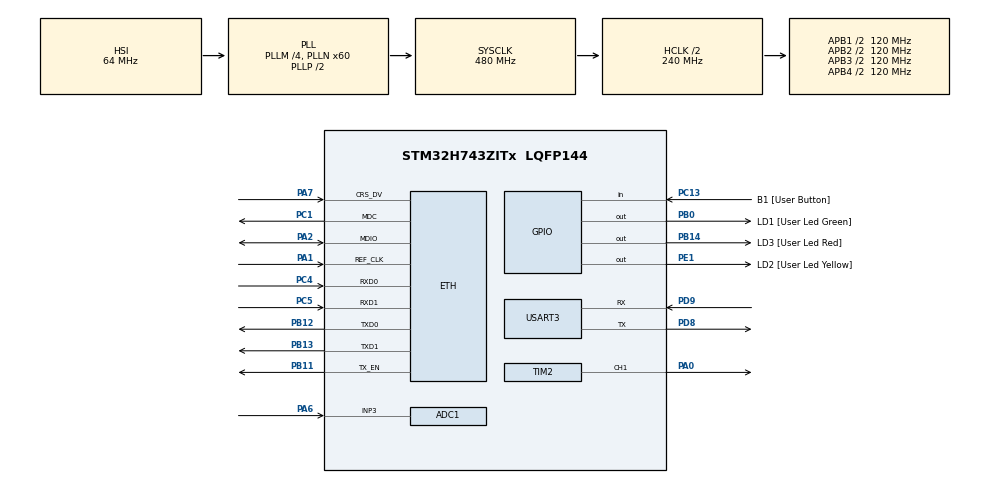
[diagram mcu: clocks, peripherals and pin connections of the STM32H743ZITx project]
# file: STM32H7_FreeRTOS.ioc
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ADC1.Channel-2\#ChannelRegularConversion=ADC_CHANNEL_3
ADC1.ContinuousConvMode=ENABLE
ADC1.ConversionDataManagement=ADC_CONVERSIONDATA_DMA_CIRCULAR
ADC1.DiscontinuousConvMode=DISABLE
ADC1.NbrOfConversionFlag=1
ADC1.OffsetNumber-2\#ChannelRegularConversion=ADC_OFFSET_NONE
ADC1.OffsetSignedSaturation-2\#ChannelRegularConversion=DISABLE
ADC1.Overrun=ADC_OVR_DATA_OVERWRITTEN
ADC1.OversamplingMode=ENABLE
ADC1.Rank-2\#ChannelRegularConversion=1
ADC1.Ratio=256
ADC1.RightBitShift=ADC_RIGHTBITSHIFT_8
ADC1.SamplingTime-2\#ChannelRegularConversion=ADC_SAMPLETIME_16CYCLES_5
ADC1.master=1
CORTEX_M7.default_mode_Activation=1
Dma.ADC1.0.Direction=DMA_PERIPH_TO_MEMORY
Dma.ADC1.0.EventEnable=DISABLE
Dma.ADC1.0.FIFOMode=DMA_FIFOMODE_DISABLE
Dma.ADC1.0.Instance=DMA1_Stream0
Dma.ADC1.0.MemDataAlignment=DMA_MDATAALIGN_HALFWORD
Dma.ADC1.0.MemInc=DMA_MINC_DISABLE
Dma.ADC1.0.Mode=DMA_CIRCULAR
Dma.ADC1.0.PeriphDataAlignment=DMA_PDATAALIGN_HALFWORD
Dma.ADC1.0.PeriphInc=DMA_PINC_DISABLE
Dma.ADC1.0.Polarity=HAL_DMAMUX_REQ_GEN_RISING
Dma.ADC1.0.Priority=DMA_PRIORITY_LOW
Dma.ADC1.0.RequestNumber=1
Dma.ADC1.0.SignalID=NONE
Dma.ADC1.0.SyncEnable=DISABLE
Dma.ADC1.0.SyncPolarity=HAL_DMAMUX_SYNC_NO_EVENT
Dma.ADC1.0.SyncRequestNumber=1
Dma.ADC1.0.SyncSignalID=NONE
Dma.Request0=ADC1
Dma.Request1=USART3_TX
Dma.USART3_TX.1.Direction=DMA_MEMORY_TO_PERIPH
Dma.USART3_TX.1.EventEnable=DISABLE
Dma.USART3_TX.1.FIFOMode=DMA_FIFOMODE_DISABLE
Dma.USART3_TX.1.Instance=DMA1_Stream1
Dma.USART3_TX.1.MemDataAlignment=DMA_MDATAALIGN_BYTE
Dma.USART3_TX.1.MemInc=DMA_MINC_ENABLE
Dma.USART3_TX.1.Mode=DMA_NORMAL
Dma.USART3_TX.1.PeriphDataAlignment=DMA_PDATAALIGN_BYTE
Dma.USART3_TX.1.PeriphInc=DMA_PINC_DISABLE
Dma.USART3_TX.1.Polarity=HAL_DMAMUX_REQ_GEN_RISING
Dma.USART3_TX.1.Priority=DMA_PRIORITY_LOW
Dma.USART3_TX.1.RequestNumber=1
Dma.USART3_TX.1.SignalID=NONE
Dma.USART3_TX.1.SyncEnable=DISABLE
Dma.USART3_TX.1.SyncPolarity=HAL_DMAMUX_SYNC_NO_EVENT
Dma.USART3_TX.1.SyncRequestNumber=1
Dma.USART3_TX.1.SyncSignalID=NONE
ETH.MediaInterface=HAL_ETH_RMII_MODE
Mcu.Family=STM32H7
Mcu.Name=STM32H743ZITx
Mcu.Package=LQFP144
NVIC.DMA1_Stream0_IRQn=true\:0\:0\:false\:false\:true\:false\:true\:true
NVIC.DMA1_Stream1_IRQn=true\:0\:0\:false\:false\:true\:false\:true\:true
NVIC.ETH_IRQn=true\:0\:0\:false\:false\:false\:true\:true\:true
NVIC.PriorityGroup=NVIC_PRIORITYGROUP_4
NVIC.TIM2_IRQn=true\:0\:0\:false\:false\:true\:true\:true\:true
NVIC.TIM6_DAC_IRQn=true\:15\:0\:false\:false\:true\:false\:true\:true
NVIC.TimeBase=TIM6_DAC_IRQn
NVIC.TimeBaseIP=TIM6
PA0.Signal=S_TIM2_CH1_ETR
PA1.Mode=RMII
PA1.Signal=ETH_REF_CLK
PA13\ (JTMS/SWDIO).GPIO_Label=JTMS
PA13\ (JTMS/SWDIO).Mode=Serial_Wire
PA13\ (JTMS/SWDIO).Signal=DEBUG_JTMS-SWDIO
PA14\ (JTCK/SWCLK).GPIO_Label=JTCK
PA14\ (JTCK/SWCLK).Mode=Serial_Wire
PA14\ (JTCK/SWCLK).Signal=DEBUG_JTCK-SWCLK
PA2.Mode=RMII
PA2.Signal=ETH_MDIO
PA6.Signal=ADCx_INP3
PA7.Mode=RMII
PA7.Signal=ETH_CRS_DV
PB0.GPIO_Label=LD1 [User Led Green]
PB0.Signal=GPIO_Output
PB11.Mode=RMII
PB11.Signal=ETH_TX_EN
PB12.Mode=RMII
PB12.Signal=ETH_TXD0
PB13.Mode=RMII
PB13.Signal=ETH_TXD1
PB14.GPIO_Label=LD3 [User Led Red]
PB14.Signal=GPIO_Output
PC1.Mode=RMII
PC1.Signal=ETH_MDC
PC13.GPIO_Label=B1 [User Button]
PC13.Signal=GPIO_Input
PC4.Mode=RMII
PC4.Signal=ETH_RXD0
PC5.Mode=RMII
PC5.Signal=ETH_RXD1
PD8.Mode=Asynchronous
PD8.Signal=USART3_TX
PD9.Mode=Asynchronous
PD9.Signal=USART3_RX
PE1.GPIO_Label=LD2 [User Led Yellow]
PE1.Signal=GPIO_Output
ProjectManager.HeapSize=0x200
ProjectManager.StackSize=0x400
ProjectManager.TargetToolchain=STM32CubeIDE
RCC.ADCFreq_Value=80000000
RCC.APB1Freq_Value=120000000
RCC.APB2Freq_Value=120000000
RCC.APB3Freq_Value=120000000
RCC.APB4Freq_Value=120000000
RCC.CortexFreq_Value=480000000
RCC.D1PPRE=RCC_APB3_DIV2
RCC.D2PPRE1=RCC_APB1_DIV2
RCC.D2PPRE2=RCC_APB2_DIV2
RCC.D3PPRE=RCC_APB4_DIV2
RCC.DIVM1=4
RCC.DIVM2=4
RCC.DIVN1=60
RCC.DIVN2=10
RCC.HCLKFreq_Value=240000000
RCC.HPRE=RCC_HCLK_DIV2
RCC.PLL2FRACN=0
RCC.PLL3FRACN=0
RCC.PLLFRACN=0
RCC.SYSCLKFreq_VALUE=480000000
RCC.SYSCLKSource=RCC_SYSCLKSOURCE_PLLCLK
RCC.USBFreq_Value=480000000
SH.ADCx_INP3.0=ADC1_INP3,IN3-Single-Ended
SH.S_TIM2_CH1_ETR.0=TIM2_CH1,PWM Generation1 CH1
TIM2.Channel-PWM\ Generation1\ CH1=TIM_CHANNEL_1
TIM2.Period=1000
TIM2.Prescaler=239
TIM2.Pulse-PWM\ Generation1\ CH1=500
USART3.VirtualMode-Asynchronous=VM_ASYNC
VP_MEMORYMAP_VS_MEMORYMAP.Mode=CurAppReg
VP_RNG_VS_RNG.Mode=RNG_Activate
VP_RTC_VS_RTC_Activate.Mode=RTC_Enabled
VP_RTC_VS_RTC_Calendar.Mode=RTC_Calendar
VP_SYS_VS_tim6.Mode=TIM6
VP_TIM2_VS_ClockSourceINT.Mode=Internal
board=NUCLEO-H743ZI2

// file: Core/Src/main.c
/* USER CODE BEGIN Header */
/**
  ******************************************************************************
  * @file           : main.c
  * @brief          : Main program body
  ******************************************************************************
  * @attention
  *
  * Copyright (c) 2025 STMicroelectronics.
  * All rights reserved.
  *
  * This software is licensed under terms that can be found in the LICENSE file
  * in the root directory of this software component.
  * If no LICENSE file comes with this software, it is provided AS-IS.
  *
  ******************************************************************************
  */
/* USER CODE END Header */
#include "main.h"
#include "string.h"

/* USER CODE BEGIN Includes */

#include "FreeRTOS.h"
#include "task.h"
#include "queue.h"
#include "semphr.h"
#include "timers.h"

#include "FreeRTOS_IP.h"
#include "FreeRTOS_Sockets.h"
#include "FreeRTOS_IP_Private.h"
#include "NetworkBufferManagement.h"
#include "FreeRTOS_Routing.h"

/* USER CODE END Includes */

/* USER CODE BEGIN PD */

#define mainTCP_SERVER_STACK_SIZE	640

/* USER CODE END PD */

#if defined ( __ICCARM__ ) /*!< IAR Compiler */
#pragma location=0x30000000
ETH_DMADescTypeDef  DMARxDscrTab[ETH_RX_DESC_CNT]; /* Ethernet Rx DMA Descriptors */
#pragma location=0x30000080
ETH_DMADescTypeDef  DMATxDscrTab[ETH_TX_DESC_CNT]; /* Ethernet Tx DMA Descriptors */

#elif defined ( __CC_ARM )  /* MDK ARM Compiler */

__attribute__((at(0x30000000))) ETH_DMADescTypeDef  DMARxDscrTab[ETH_RX_DESC_CNT]; /* Ethernet Rx DMA Descriptors */
__attribute__((at(0x30000080))) ETH_DMADescTypeDef  DMATxDscrTab[ETH_TX_DESC_CNT]; /* Ethernet Tx DMA Descriptors */

#elif defined ( __GNUC__ ) /* GNU Compiler */

ETH_DMADescTypeDef DMARxDscrTab[ETH_RX_DESC_CNT] __attribute__((section(".RxDescripSection"))); /* Ethernet Rx DMA Descriptors */
ETH_DMADescTypeDef DMATxDscrTab[ETH_TX_DESC_CNT] __attribute__((section(".TxDescripSection")));   /* Ethernet Tx DMA Descriptors */
#endif

ETH_TxPacketConfig TxConfig;

ADC_HandleTypeDef hadc1;
DMA_HandleTypeDef hdma_adc1;

ETH_HandleTypeDef heth;

RNG_HandleTypeDef hrng;

RTC_HandleTypeDef hrtc;

TIM_HandleTypeDef htim2;

UART_HandleTypeDef huart3;
DMA_HandleTypeDef hdma_usart3_tx;

/* USER CODE BEGIN PV */

TaskHandle_t xLedTaskHandle1 = NULL;
TaskHandle_t xLedTaskHandle2 = NULL;
TaskHandle_t xLedTaskHandle3 = NULL;

static uint8_t ucMACAddress[ 6 ] = { configMAC_ADDR0, configMAC_ADDR1, configMAC_ADDR2, configMAC_ADDR3, configMAC_ADDR4, configMAC_ADDR5 };
static const uint8_t ucIPAddress[ 4 ] = { configIP_ADDR0, configIP_ADDR1, configIP_ADDR2, configIP_ADDR3 };
static const uint8_t ucNetMask[ 4 ] = { configNET_MASK0, configNET_MASK1, configNET_MASK2, configNET_MASK3 };
static const uint8_t ucGatewayAddress[ 4 ] = { configGATEWAY_ADDR0, configGATEWAY_ADDR1, configGATEWAY_ADDR2, configGATEWAY_ADDR3 };
const uint8_t ucDNSServerAddress[ 4 ] = { configDNS_SERVER_ADDR0, configDNS_SERVER_ADDR1, configDNS_SERVER_ADDR2, configDNS_SERVER_ADDR3 };

NetworkInterface_t xInterfaces[10];
NetworkEndPoint_t xEndPoints[10];

/* USER CODE END PV */

void SystemClock_Config(void);
static void MPU_Config(void);
static void MX_GPIO_Init(void);
static void MX_DMA_Init(void);
static void MX_ETH_Init(void);
static void MX_ADC1_Init(void);
static void MX_RTC_Init(void);
static void MX_TIM2_Init(void);
static void MX_USART3_UART_Init(void);
static void MX_RNG_Init(void);
/* USER CODE BEGIN PFP */

void vLedTask1( void *pvParameters );
void vLedTask2( void *pvParameters );
void vLedTask3( void *pvParameters );

void vApplicationMallocFailedHook(void);
void vApplicationStackOverflowHook(TaskHandle_t xTask, char *pcTaskName);

eFrameProcessingResult_t eConsiderPacketForProcessing(const uint8_t *pucEthernetBuffer, size_t xBufferLength);
uint32_t ulApplicationGetNextSequenceNumber(uint32_t ulSourceAddress, uint16_t usSourcePort, uint32_t ulDestinationAddress, uint16_t usDestinationPort);
void vApplicationIPNetworkEventHook_Multi(eIPCallbackEvent_t eNetworkEvent, struct xNetworkEndPoint *pxEndPoint);
void vApplicationPingReplyHook(ePingReplyStatus_t eStatus, uint16_t usIdentifier);
BaseType_t xApplicationDNSQueryHook_Multi(struct xNetworkEndPoint * pxEndPoint, const char * pcName);
BaseType_t xApplicationGetRandomNumber( uint32_t *pulValue );

/* USER CODE END PFP */

/* USER CODE BEGIN 0 */

//static uint32_t ulSeed;

/* USER CODE END 0 */

int main(void)
{

  /* MPU Configuration--------------------------------------------------------*/
  MPU_Config();

  /* MCU Configuration--------------------------------------------------------*/

  /* Reset of all peripherals, Initializes the Flash interface and the Systick. */
  HAL_Init();

  /* Configure the system clock */
  SystemClock_Config();

  /* Initialize all configured peripherals */
  MX_GPIO_Init();
  MX_DMA_Init();
  MX_ETH_Init();
  MX_ADC1_Init();
  MX_RTC_Init();
  MX_TIM2_Init();
  MX_USART3_UART_Init();
  MX_RNG_Init();
  /* USER CODE BEGIN 2 */

  pxSTM32_FillInterfaceDescriptor(0, &xInterfaces[0]);
  FreeRTOS_FillEndPoint( &( xInterfaces[ 0 ] ), &( xEndPoints[ 0 ] ), ucIPAddress, ucNetMask, ucGatewayAddress, ucDNSServerAddress, ucMACAddress );

  #if ( ipconfigUSE_DHCP != 0 )
  {
	  /* End-point 0 wants to use DHCPv4. */
	  xEndPoints[ 0 ].bits.bWantDHCP = pdTRUE;
  }
  #endif /* ( ipconfigUSE_DHCP != 0 ) */

  FreeRTOS_IPInit_Multi();

  xTaskCreate(vLedTask1, "LED Blink1", 64, NULL, 1, &xLedTaskHandle1);
  xTaskCreate(vLedTask2, "LED Blink2", 64, NULL, 1, &xLedTaskHandle2);
  //xTaskCreate(vLedTask3, "LED Blink3", 64, NULL, 1, &xLedTaskHandle3);

  /* USER CODE END 2 */

  /* Infinite loop */
  /* USER CODE BEGIN WHILE */

  vTaskStartScheduler();

  while (1)
  {

    /* USER CODE END WHILE */

  }
}

void SystemClock_Config(void)
{
  RCC_OscInitTypeDef RCC_OscInitStruct = {0};
  RCC_ClkInitTypeDef RCC_ClkInitStruct = {0};

  /** Supply configuration update enable
  */
  HAL_PWREx_ConfigSupply(PWR_LDO_SUPPLY);

  /** Configure the main internal regulator output voltage
  */
  __HAL_PWR_VOLTAGESCALING_CONFIG(PWR_REGULATOR_VOLTAGE_SCALE0);

  while(!__HAL_PWR_GET_FLAG(PWR_FLAG_VOSRDY)) {}

  /** Initializes the RCC Oscillators according to the specified parameters
  * in the RCC_OscInitTypeDef structure.
  */
  RCC_OscInitStruct.OscillatorType = RCC_OSCILLATORTYPE_HSI48|RCC_OSCILLATORTYPE_HSI
                              |RCC_OSCILLATORTYPE_LSI;
  RCC_OscInitStruct.HSIState = RCC_HSI_DIV1;
  RCC_OscInitStruct.HSICalibrationValue = RCC_HSICALIBRATION_DEFAULT;
  RCC_OscInitStruct.LSIState = RCC_LSI_ON;
  RCC_OscInitStruct.HSI48State = RCC_HSI48_ON;
  RCC_OscInitStruct.PLL.PLLState = RCC_PLL_ON;
  RCC_OscInitStruct.PLL.PLLSource = RCC_PLLSOURCE_HSI;
  RCC_OscInitStruct.PLL.PLLM = 4;
  RCC_OscInitStruct.PLL.PLLN = 60;
  RCC_OscInitStruct.PLL.PLLP = 2;
  RCC_OscInitStruct.PLL.PLLQ = 2;
  RCC_OscInitStruct.PLL.PLLR = 2;
  RCC_OscInitStruct.PLL.PLLRGE = RCC_PLL1VCIRANGE_3;
  RCC_OscInitStruct.PLL.PLLVCOSEL = RCC_PLL1VCOWIDE;
  RCC_OscInitStruct.PLL.PLLFRACN = 0;
  if (HAL_RCC_OscConfig(&RCC_OscInitStruct) != HAL_OK)
  {
    Error_Handler();
  }

  /** Initializes the CPU, AHB and APB buses clocks
  */
  RCC_ClkInitStruct.ClockType = RCC_CLOCKTYPE_HCLK|RCC_CLOCKTYPE_SYSCLK
                              |RCC_CLOCKTYPE_PCLK1|RCC_CLOCKTYPE_PCLK2
                              |RCC_CLOCKTYPE_D3PCLK1|RCC_CLOCKTYPE_D1PCLK1;
  RCC_ClkInitStruct.SYSCLKSource = RCC_SYSCLKSOURCE_PLLCLK;
  RCC_ClkInitStruct.SYSCLKDivider = RCC_SYSCLK_DIV1;
  RCC_ClkInitStruct.AHBCLKDivider = RCC_HCLK_DIV2;
  RCC_ClkInitStruct.APB3CLKDivider = RCC_APB3_DIV2;
  RCC_ClkInitStruct.APB1CLKDivider = RCC_APB1_DIV2;
  RCC_ClkInitStruct.APB2CLKDivider = RCC_APB2_DIV2;
  RCC_ClkInitStruct.APB4CLKDivider = RCC_APB4_DIV2;

  if (HAL_RCC_ClockConfig(&RCC_ClkInitStruct, FLASH_LATENCY_4) != HAL_OK)
  {
    Error_Handler();
  }
}

static void MX_ADC1_Init(void)
{

  ADC_MultiModeTypeDef multimode = {0};
  ADC_ChannelConfTypeDef sConfig = {0};

  /** Common config
  */
  hadc1.Instance = ADC1;
  hadc1.Init.ClockPrescaler = ADC_CLOCK_ASYNC_DIV1;
  hadc1.Init.Resolution = ADC_RESOLUTION_16B;
  hadc1.Init.ScanConvMode = ADC_SCAN_DISABLE;
  hadc1.Init.EOCSelection = ADC_EOC_SINGLE_CONV;
  hadc1.Init.LowPowerAutoWait = DISABLE;
  hadc1.Init.ContinuousConvMode = ENABLE;
  hadc1.Init.NbrOfConversion = 1;
  hadc1.Init.DiscontinuousConvMode = DISABLE;
  hadc1.Init.ExternalTrigConv = ADC_SOFTWARE_START;
  hadc1.Init.ExternalTrigConvEdge = ADC_EXTERNALTRIGCONVEDGE_NONE;
  hadc1.Init.ConversionDataManagement = ADC_CONVERSIONDATA_DMA_CIRCULAR;
  hadc1.Init.Overrun = ADC_OVR_DATA_OVERWRITTEN;
  hadc1.Init.LeftBitShift = ADC_LEFTBITSHIFT_NONE;
  hadc1.Init.OversamplingMode = ENABLE;
  hadc1.Init.Oversampling.Ratio = 256;
  hadc1.Init.Oversampling.RightBitShift = ADC_RIGHTBITSHIFT_8;
  hadc1.Init.Oversampling.TriggeredMode = ADC_TRIGGEREDMODE_SINGLE_TRIGGER;
  hadc1.Init.Oversampling.OversamplingStopReset = ADC_REGOVERSAMPLING_CONTINUED_MODE;
  if (HAL_ADC_Init(&hadc1) != HAL_OK)
  {
    Error_Handler();
  }

  /** Configure the ADC multi-mode
  */
  multimode.Mode = ADC_MODE_INDEPENDENT;
  if (HAL_ADCEx_MultiModeConfigChannel(&hadc1, &multimode) != HAL_OK)
  {
    Error_Handler();
  }

  /** Configure Regular Channel
  */
  sConfig.Channel = ADC_CHANNEL_3;
  sConfig.Rank = ADC_REGULAR_RANK_1;
  sConfig.SamplingTime = ADC_SAMPLETIME_16CYCLES_5;
  sConfig.SingleDiff = ADC_SINGLE_ENDED;
  sConfig.OffsetNumber = ADC_OFFSET_NONE;
  sConfig.Offset = 0;
  sConfig.OffsetSignedSaturation = DISABLE;
  if (HAL_ADC_ConfigChannel(&hadc1, &sConfig) != HAL_OK)
  {
    Error_Handler();
  }

}

static void MX_ETH_Init(void)
{

   static uint8_t MACAddr[6];

  heth.Instance = ETH;
  MACAddr[0] = 0x00;
  MACAddr[1] = 0x80;
  MACAddr[2] = 0xE1;
  MACAddr[3] = 0x00;
  MACAddr[4] = 0x00;
  MACAddr[5] = 0x00;
  heth.Init.MACAddr = &MACAddr[0];
  heth.Init.MediaInterface = HAL_ETH_RMII_MODE;
  heth.Init.TxDesc = DMATxDscrTab;
  heth.Init.RxDesc = DMARxDscrTab;
  heth.Init.RxBuffLen = 1536;

  if (HAL_ETH_Init(&heth) != HAL_OK)
  {
    Error_Handler();
  }

  memset(&TxConfig, 0 , sizeof(ETH_TxPacketConfig));
  TxConfig.Attributes = ETH_TX_PACKETS_FEATURES_CSUM | ETH_TX_PACKETS_FEATURES_CRCPAD;
  TxConfig.ChecksumCtrl = ETH_CHECKSUM_IPHDR_PAYLOAD_INSERT_PHDR_CALC;
  TxConfig.CRCPadCtrl = ETH_CRC_PAD_INSERT;

}

static void MX_RNG_Init(void)
{

  hrng.Instance = RNG;
  hrng.Init.ClockErrorDetection = RNG_CED_ENABLE;
  if (HAL_RNG_Init(&hrng) != HAL_OK)
  {
    Error_Handler();
  }

}

static void MX_RTC_Init(void)
{

  RTC_TimeTypeDef sTime = {0};
  RTC_DateTypeDef sDate = {0};

  /** Initialize RTC Only
  */
  hrtc.Instance = RTC;
  hrtc.Init.HourFormat = RTC_HOURFORMAT_24;
  hrtc.Init.AsynchPrediv = 127;
  hrtc.Init.SynchPrediv = 255;
  hrtc.Init.OutPut = RTC_OUTPUT_DISABLE;
  hrtc.Init.OutPutPolarity = RTC_OUTPUT_POLARITY_HIGH;
  hrtc.Init.OutPutType = RTC_OUTPUT_TYPE_OPENDRAIN;
  hrtc.Init.OutPutRemap = RTC_OUTPUT_REMAP_NONE;
  if (HAL_RTC_Init(&hrtc) != HAL_OK)
  {
    Error_Handler();
  }

  /** Initialize RTC and set the Time and Date
  */
  sTime.Hours = 0x0;
  sTime.Minutes = 0x0;
  sTime.Seconds = 0x0;
  sTime.DayLightSaving = RTC_DAYLIGHTSAVING_NONE;
  sTime.StoreOperation = RTC_STOREOPERATION_RESET;
  if (HAL_RTC_SetTime(&hrtc, &sTime, RTC_FORMAT_BCD) != HAL_OK)
  {
    Error_Handler();
  }
  sDate.WeekDay = RTC_WEEKDAY_MONDAY;
  sDate.Month = RTC_MONTH_JANUARY;
  sDate.Date = 0x1;
  sDate.Year = 0x0;

  if (HAL_RTC_SetDate(&hrtc, &sDate, RTC_FORMAT_BCD) != HAL_OK)
  {
    Error_Handler();
  }

}

static void MX_TIM2_Init(void)
{

  TIM_ClockConfigTypeDef sClockSourceConfig = {0};
  TIM_MasterConfigTypeDef sMasterConfig = {0};
  TIM_OC_InitTypeDef sConfigOC = {0};

  htim2.Instance = TIM2;
  htim2.Init.Prescaler = 239;
  htim2.Init.CounterMode = TIM_COUNTERMODE_UP;
  htim2.Init.Period = 1000;
  htim2.Init.ClockDivision = TIM_CLOCKDIVISION_DIV1;
  htim2.Init.AutoReloadPreload = TIM_AUTORELOAD_PRELOAD_DISABLE;
  if (HAL_TIM_Base_Init(&htim2) != HAL_OK)
  {
    Error_Handler();
  }
  sClockSourceConfig.ClockSource = TIM_CLOCKSOURCE_INTERNAL;
  if (HAL_TIM_ConfigClockSource(&htim2, &sClockSourceConfig) != HAL_OK)
  {
    Error_Handler();
  }
  if (HAL_TIM_PWM_Init(&htim2) != HAL_OK)
  {
    Error_Handler();
  }
  sMasterConfig.MasterOutputTrigger = TIM_TRGO_RESET;
  sMasterConfig.MasterSlaveMode = TIM_MASTERSLAVEMODE_DISABLE;
  if (HAL_TIMEx_MasterConfigSynchronization(&htim2, &sMasterConfig) != HAL_OK)
  {
    Error_Handler();
  }
  sConfigOC.OCMode = TIM_OCMODE_PWM1;
  sConfigOC.Pulse = 500;
  sConfigOC.OCPolarity = TIM_OCPOLARITY_HIGH;
  sConfigOC.OCFastMode = TIM_OCFAST_DISABLE;
  if (HAL_TIM_PWM_ConfigChannel(&htim2, &sConfigOC, TIM_CHANNEL_1) != HAL_OK)
  {
    Error_Handler();
  }
  HAL_TIM_MspPostInit(&htim2);

}

static void MX_USART3_UART_Init(void)
{

  huart3.Instance = USART3;
  huart3.Init.BaudRate = 115200;
  huart3.Init.WordLength = UART_WORDLENGTH_8B;
  huart3.Init.StopBits = UART_STOPBITS_1;
  huart3.Init.Parity = UART_PARITY_NONE;
  huart3.Init.Mode = UART_MODE_TX_RX;
  huart3.Init.HwFlowCtl = UART_HWCONTROL_NONE;
  huart3.Init.OverSampling = UART_OVERSAMPLING_16;
  huart3.Init.OneBitSampling = UART_ONE_BIT_SAMPLE_DISABLE;
  huart3.Init.ClockPrescaler = UART_PRESCALER_DIV1;
  huart3.AdvancedInit.AdvFeatureInit = UART_ADVFEATURE_NO_INIT;
  if (HAL_UART_Init(&huart3) != HAL_OK)
  {
    Error_Handler();
  }
  if (HAL_UARTEx_SetTxFifoThreshold(&huart3, UART_TXFIFO_THRESHOLD_1_8) != HAL_OK)
  {
    Error_Handler();
  }
  if (HAL_UARTEx_SetRxFifoThreshold(&huart3, UART_RXFIFO_THRESHOLD_1_8) != HAL_OK)
  {
    Error_Handler();
  }
  if (HAL_UARTEx_DisableFifoMode(&huart3) != HAL_OK)
  {
    Error_Handler();
  }

}

static void MX_DMA_Init(void)
{

  /* DMA controller clock enable */
  __HAL_RCC_DMA1_CLK_ENABLE();

  /* DMA interrupt init */
  /* DMA1_Stream0_IRQn interrupt configuration */
  HAL_NVIC_SetPriority(DMA1_Stream0_IRQn, 0, 0);
  HAL_NVIC_EnableIRQ(DMA1_Stream0_IRQn);
  /* DMA1_Stream1_IRQn interrupt configuration */
  HAL_NVIC_SetPriority(DMA1_Stream1_IRQn, 0, 0);
  HAL_NVIC_EnableIRQ(DMA1_Stream1_IRQn);

}

static void MX_GPIO_Init(void)
{
  GPIO_InitTypeDef GPIO_InitStruct = {0};

  /* GPIO Ports Clock Enable */
  __HAL_RCC_GPIOC_CLK_ENABLE();
  __HAL_RCC_GPIOA_CLK_ENABLE();
  __HAL_RCC_GPIOB_CLK_ENABLE();
  __HAL_RCC_GPIOD_CLK_ENABLE();
  __HAL_RCC_GPIOE_CLK_ENABLE();

  /*Configure GPIO pin Output Level */
  HAL_GPIO_WritePin(GPIOB, LD1_Pin|LD3_Pin, GPIO_PIN_RESET);

  /*Configure GPIO pin Output Level */
  HAL_GPIO_WritePin(LD2_GPIO_Port, LD2_Pin, GPIO_PIN_RESET);

  /*Configure GPIO pin : B1_Pin */
  GPIO_InitStruct.Pin = B1_Pin;
  GPIO_InitStruct.Mode = GPIO_MODE_INPUT;
  GPIO_InitStruct.Pull = GPIO_NOPULL;
  HAL_GPIO_Init(B1_GPIO_Port, &GPIO_InitStruct);

  /*Configure GPIO pins : LD1_Pin LD3_Pin */
  GPIO_InitStruct.Pin = LD1_Pin|LD3_Pin;
  GPIO_InitStruct.Mode = GPIO_MODE_OUTPUT_PP;
  GPIO_InitStruct.Pull = GPIO_NOPULL;
  GPIO_InitStruct.Speed = GPIO_SPEED_FREQ_LOW;
  HAL_GPIO_Init(GPIOB, &GPIO_InitStruct);

  /*Configure GPIO pin : LD2_Pin */
  GPIO_InitStruct.Pin = LD2_Pin;
  GPIO_InitStruct.Mode = GPIO_MODE_OUTPUT_PP;
  GPIO_InitStruct.Pull = GPIO_NOPULL;
  GPIO_InitStruct.Speed = GPIO_SPEED_FREQ_LOW;
  HAL_GPIO_Init(LD2_GPIO_Port, &GPIO_InitStruct);

}

/* USER CODE BEGIN 4 */

void vApplicationMallocFailedHook(void)
{
    //printf("Malloc failed! Free heap: %d\n", xPortGetFreeHeapSize());
}

void vApplicationStackOverflowHook(TaskHandle_t xTask, char *pcTaskName) {
    (void)xTask;
    (void)pcTaskName;

    /* Здесь можно добавить обработку ошибки */
    for(;;);
}

//------------------------------------------------------------------------------------------------------------------//
/* Фильтрация входящих пакетов (можно разрешить или отклонить) */
eFrameProcessingResult_t eConsiderPacketForProcessing(const uint8_t *pucEthernetBuffer, size_t xBufferLength)
{
    /* Разрешить все пакеты */
    return eProcessBuffer;
}

/* Генерация начального TCP sequence number (можно использовать RNG) */
uint32_t ulApplicationGetNextSequenceNumber(uint32_t ulSourceAddress, uint16_t usSourcePort, uint32_t ulDestinationAddress, uint16_t usDestinationPort)
{
	uint32_t ulReturn;
	( void ) ulSourceAddress;
	( void ) usSourcePort;
	( void ) ulDestinationAddress;
	( void ) usDestinationPort;
	xApplicationGetRandomNumber( &ulReturn );

	return ulReturn;
}

/* Обработчик сетевых событий */
void vApplicationIPNetworkEventHook_Multi(eIPCallbackEvent_t eNetworkEvent, struct xNetworkEndPoint *pxEndPoint)
{
    switch (eNetworkEvent) {
        case eNetworkUp:
            /* Сеть поднята */
        	HAL_GPIO_TogglePin(GPIOB, GPIO_PIN_14);

            break;

        case eNetworkDown:
            /* Сеть отключена */

            break;

        default:
            break;
    }
}

/* Обработка ответов на ping */
void vApplicationPingReplyHook(ePingReplyStatus_t eStatus, uint16_t usIdentifier)
{
    if (eStatus == eSuccess)
    {
        //printf("Ping reply: ID=%u, Seq=%u, RTT=%lu ms\n", usIdentifier, usSequenceNumber, ulRoundTripTime);

    } else
    {
        //printf("Ping failed!\n");

    }
}

/* Фильтрация DNS-запросов */
BaseType_t xApplicationDNSQueryHook_Multi(struct xNetworkEndPoint * pxEndPoint, const char * pcName)
{
    /* Разрешить все запросы */
    return pdTRUE;
}

//------------------------------------------------------------------------------------------------------------------//

BaseType_t xApplicationGetRandomNumber( uint32_t *pulValue )
{
BaseType_t xReturn;

	if( HAL_RNG_GenerateRandomNumber( &hrng, pulValue ) == HAL_OK )
	{
		xReturn = pdPASS;
	}
	else
	{
		xReturn = pdFAIL;
	}

	return xReturn;
}

void vLedTask1( void *pvParameters )
{
    TickType_t xLastWakeTime;
    const TickType_t xFrequency = 1000 / portTICK_PERIOD_MS;

    // Initialise the xLastWakeTime variable with the current time.
    xLastWakeTime = xTaskGetTickCount();

    for( ;; )
    {
        // Wait for the next cycle.
    	HAL_GPIO_TogglePin(GPIOB, GPIO_PIN_0);

        vTaskDelayUntil( &xLastWakeTime, xFrequency );

        // Perform action here.
    }
}

void vLedTask2( void *pvParameters )
{
    TickType_t xLastWakeTime;
    const TickType_t xFrequency = 500 / portTICK_PERIOD_MS;

    // Initialise the xLastWakeTime variable with the current time.
    xLastWakeTime = xTaskGetTickCount();

    for( ;; )
    {
        // Wait for the next cycle.
    	HAL_GPIO_TogglePin(GPIOE, GPIO_PIN_1);

        vTaskDelayUntil( &xLastWakeTime, xFrequency );

        // Perform action here.
    }
}

void vLedTask3( void *pvParameters )
{
    TickType_t xLastWakeTime;
    const TickType_t xFrequency = 250 / portTICK_PERIOD_MS;

    // Initialise the xLastWakeTime variable with the current time.
    xLastWakeTime = xTaskGetTickCount();

    for( ;; )
    {
        // Wait for the next cycle.
    	HAL_GPIO_TogglePin(GPIOB, GPIO_PIN_14);

        vTaskDelayUntil( &xLastWakeTime, xFrequency );

        // Perform action here.
    }
}

/* USER CODE END 4 */

 /* MPU Configuration */

void MPU_Config(void)
{
  MPU_Region_InitTypeDef MPU_InitStruct = {0};

  /* Disables the MPU */
  HAL_MPU_Disable();

  /** Initializes and configures the Region and the memory to be protected
  */
  MPU_InitStruct.Enable = MPU_REGION_ENABLE;
  MPU_InitStruct.Number = MPU_REGION_NUMBER0;
  MPU_InitStruct.BaseAddress = 0x0;
  MPU_InitStruct.Size = MPU_REGION_SIZE_4GB;
  MPU_InitStruct.SubRegionDisable = 0x87;
  MPU_InitStruct.TypeExtField = MPU_TEX_LEVEL0;
  MPU_InitStruct.AccessPermission = MPU_REGION_NO_ACCESS;
  MPU_InitStruct.DisableExec = MPU_INSTRUCTION_ACCESS_DISABLE;
  MPU_InitStruct.IsShareable = MPU_ACCESS_SHAREABLE;
  MPU_InitStruct.IsCacheable = MPU_ACCESS_NOT_CACHEABLE;
  MPU_InitStruct.IsBufferable = MPU_ACCESS_NOT_BUFFERABLE;

  HAL_MPU_ConfigRegion(&MPU_InitStruct);
  /* Enables the MPU */
  HAL_MPU_Enable(MPU_PRIVILEGED_DEFAULT);

}

void HAL_TIM_PeriodElapsedCallback(TIM_HandleTypeDef *htim)
{
  if (htim->Instance == TIM6)
  {
    HAL_IncTick();
  }
}

void Error_Handler(void)
{
  __disable_irq();
  while (1)
  {
  }
}
